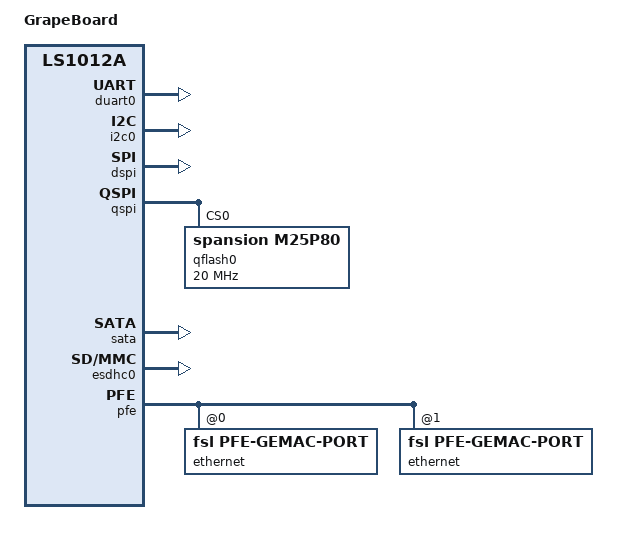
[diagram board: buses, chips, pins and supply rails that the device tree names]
/*
 * Device Tree file for Scalys Grape Board.
 * 
 * Copyright 2018 Scalys B.V.
 *
 * Copyright 2016 Freescale Semiconductor, Inc.
 *     
 *     This library is free software; you can redistribute it and/or
 *     modify it under the terms of the GNU General Public License as
 *     published by the Free Software Foundation; either version 2 of the
 *     License, or (at your option) any later version.
 *
 *     This library is distributed in the hope that it will be useful,
 *     but WITHOUT ANY WARRANTY; without even the implied warranty of
 *     MERCHANTABILITY or FITNESS FOR A PARTICULAR PURPOSE.  See the
 *     GNU General Public License for more details.
 */
/dts-v1/;

#include "fsl-ls1012a.dtsi"
#include "include/dt-bindings/gpio/gpio.h"

/ {
	model = "GrapeBoard";
	compatible = "fsl,ls1012a";

	aliases {
		ethernet0 = &pfe_mac0;
		ethernet1 = &pfe_mac1;
		serial0 = &duart0;
	};
};

&duart0 {
	status = "okay";
};

&i2c0 {
	status = "okay";
};

&dspi {
        bus-num = <0>;
        status = "okay";
};

&qspi {
	num-cs = <2>;
	bus-num = <0>;
	status = "okay";

	qflash0: s25fs512s@0 {
		compatible = "spansion,m25p80";
		#address-cells = <1>;
		#size-cells = <1>;
		spi-max-frequency = <20000000>;
		m25p,fast-read;
		reg = <0>;
	};
};


&sata {
	status = "okay";
};

&esdhc0 {
	sd-uhs-sdr104;
	sd-uhs-sdr50;
	sd-uhs-sdr25;
	sd-uhs-sdr12;
	status = "okay";
};

&gpio0 {
        ngpios = <32>;
        gpio-line-names =   "RPI_GPIO_3", 
                            "RPI_GPIO_4", 
                            "RPI_GPIO_2", 
                            "RPI_GPIO_1", 
                            "reserved", 
                            "reserved", 
                            "reserved", 
                            "reserved",
                            "reserved", 
                            "reserved", 
                            "reserved", 
                            "reserved", 
                            "reserved", 
                            "reserved", 
                            "reserved", 
                            "reserved",
                            "reserved", 
                            "reserved", 
                            "reserved", 
                            "reserved", 
                            "reserved", 
                            "reserved", 
                            "CPU_IRQ", 
                            "reserved",
                            "RPI_GPIO_11", 
                            "RPI_GPIO_15", 
                            "RPI_GPIO_16", 
                            "RPI_GPIO_5", 
                            "RPI_GPIO_12", 
                            "RPI_GPIO_14", 
                            "reserved", 
                            "reserved";
};

&gpio1 {
        ngpios = <18>;
        gpio-line-names =   "M2_GPIO_4", 
                            "M2_GPIO_5", 
                            "M2_GPIO_6", 
                            "QPSI_A_MUX_SEL", 
                            "RPI_GPIO_6", 
                            "RPI_GPIO_7", 
                            "RPI_GPIO_8", 
                            "RPI_GPIO_9",
                            "reserved", 
                            "RPI_GPIO_10", 
                            "RPI_GPIO_13", 
                            "M2_CFG_1", 
                            "M2_CFG_0", 
                            "M2_CFG_2", 
                            "M2_CFG_3", 
                            "reserved",
                            "reserved", 
                            "TMP_DETECT_N";
};

&pfe {
	status = "okay";
	#address-cells = <1>;
	#size-cells = <0>;

	ethernet@0 {
		compatible = "fsl,pfe-gemac-port";
		#address-cells = <1>;
		#size-cells = <0>;
		reg = <0x0>;	/* GEM_ID */
		fsl,gemac-bus-id = <0x0>;	/* BUS_ID */
		fsl,gemac-phy-id = <0x1>;	/* PHY_ID */
		fsl,mdio-mux-val = <0x0>;
		phy-mode = "sgmii";
		fsl,pfe-phy-if-flags = <0x0>;

		mdio@0 {
			reg = <0x1>; /* enabled/disabled */
		};
	};

	ethernet@1 {
		compatible = "fsl,pfe-gemac-port";
		#address-cells = <1>;
		#size-cells = <0>;
		reg = <0x1>;	/* GEM_ID */
		fsl,gemac-bus-id = <0x1>;	/* BUS_ID */
		fsl,gemac-phy-id = <0x2>;	/* PHY_ID */
		fsl,mdio-mux-val = <0x0>;
		phy-mode = "sgmii";
		fsl,pfe-phy-if-flags = <0x0>;

		mdio@0 {
			reg = <0x0>; /* enabled/disabled */
		};
	};
};
